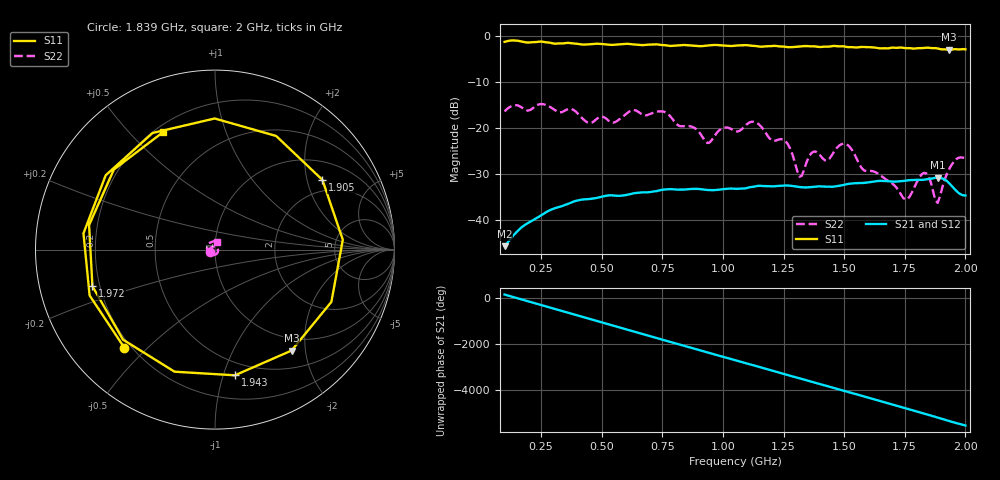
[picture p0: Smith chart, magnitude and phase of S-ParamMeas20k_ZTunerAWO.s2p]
!Keysight Technologies,N5242B,MY48420967,A.15.65.19
!Date: Monday, December 19, 2022 08:51:08
!Correction: S11(C  2-Port  )
!S21(C  2-Port  )
!S12(C  2-Port  )
!S22(C  2-Port  )
!S2P File: Measurements: S11, S21, S12, S22:
# Hz S  dB  R 50
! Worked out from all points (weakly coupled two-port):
!   201 points, 100 MHz to 2 GHz, reference 50 ohm
!   highest |S21| = -30.84 dB at 1.886 GHz (marker M1); lowest = -45.8 dB at 100 MHz (marker M2)
!   lowest |S11| = -3.0 dB at 1.933 GHz (marker M3), VSWR 5.80, Z = 38.9 - j87.2 ohm
!   |S11| at or under -10 dB: nowhere
!   |S22| runs from -36.3 to -14.8 dB; largest |S21 - S12| = 3.6e-05
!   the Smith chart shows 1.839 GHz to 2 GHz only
!   S11 on the Smith chart (normalised r, x): 1.839 GHz: 0.17, -0.43; 1.905 GHz: 1.57, +2.49; 1.943 GHz: 0.39, -1.09; 1.972 GHz: 0.17, -0.14; 2 GHz: 0.23, +0.63
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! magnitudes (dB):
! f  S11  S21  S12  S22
! 100 MHz  -1.3  -45.8  -45.7  -16.4
! 252 MHz  -1.2  -39.0  -39.0  -14.8
! 423 MHz  -1.9  -35.6  -35.6  -18.1
! 736.5 MHz  -1.9  -33.6  -33.6  -16.4
! 936 MHz  -2.1  -33.5  -33.5  -23.3
! 1.05 GHz  -2.1  -33.3  -33.3  -20.7
! 1.126 GHz  -2.2  -32.8  -32.8  -18.7
! 1.25 GHz  -2.3  -32.6  -32.6  -22.6
! 1.316 GHz  -2.3  -32.9  -32.9  -30.6
! 1.373 GHz  -2.3  -32.9  -32.9  -25.2
! 1.43 GHz  -2.3  -32.8  -32.8  -27.1
! 1.506 GHz  -2.3  -32.3  -32.3  -23.5
! 1.582 GHz  -2.4  -32.0  -32.0  -29.3
! 1.687 GHz  -2.7  -31.6  -31.6  -31.7
! 1.753 GHz  -2.7  -31.5  -31.5  -35.6
! 1.839 GHz  -2.6  -31.2  -31.2  -29.9
! 1.886 GHz  -2.7  -30.8  -30.8  -36.3
! 1.905 GHz  -2.9  -31.0  -31.0  -32.9
! 1.933 GHz  -3.0  -32.1  -32.1  -28.9
! 1.943 GHz  -3.0  -32.6  -32.6  -28.1
! 1.972 GHz  -2.9  -34.2  -34.2  -26.5
! 2 GHz  -2.9  -34.7  -34.7  -26.6
